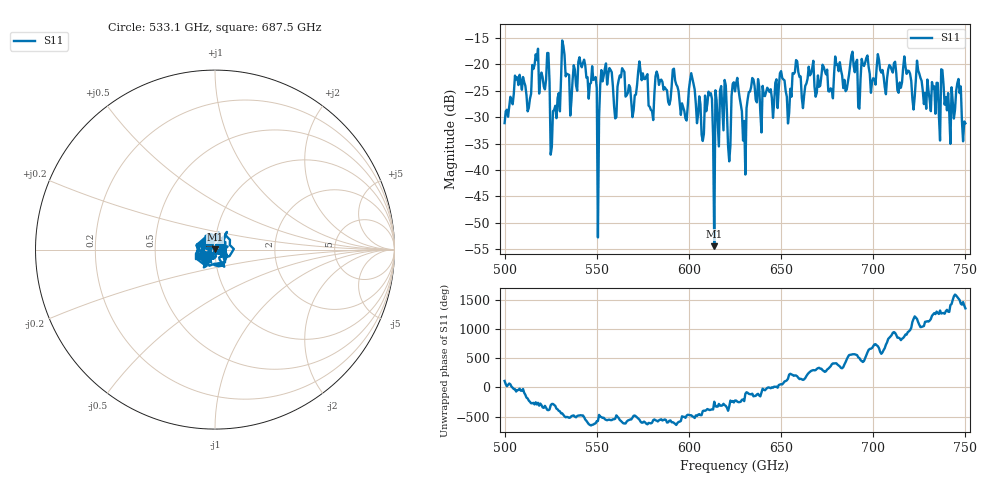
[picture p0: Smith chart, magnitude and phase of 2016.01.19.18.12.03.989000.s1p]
!Created with skrf (http://scikit-rf.org).
# GHz S RI R 50.0
!freq ReS11 ImS11
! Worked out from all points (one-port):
!   401 points, 500 GHz to 750 GHz, reference 50 ohm
!   lowest |S11| = -54.4 dB at 613.8 GHz (marker M1), VSWR 1.00, Z = 49.9 + j0.172 ohm
!   |S11| at or under -10 dB: start of sweep to end of sweep
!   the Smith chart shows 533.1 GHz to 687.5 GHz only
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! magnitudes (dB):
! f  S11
! 500 GHz  -31.1
! 506.9 GHz  -22.4
! 513.1 GHz  -28.2
! 516.9 GHz  -18.1
! 523.1 GHz  -17.8
! 526.2 GHz  -28.8
! 531.2 GHz  -15.5
! 548.8 GHz  -22.8
! 550.6 GHz  -52.8
! 553.8 GHz  -22.2
! 562.5 GHz  -22.1
! 593.8 GHz  -24.2
! 598.1 GHz  -30.2
! 601.9 GHz  -22.6
! 608.1 GHz  -33.1
! 611.2 GHz  -25.8
! 613.8 GHz  -54.4
! 618.8 GHz  -32.5
! 621.9 GHz  -38.4
! 625 GHz  -25.1
! 630 GHz  -30.7
! 634.4 GHz  -22.6
! 656.2 GHz  -21.6
! 687.5 GHz  -20.1
! 718.8 GHz  -21.2
! 742.5 GHz  -24.3
! 746.2 GHz  -22.7
! 750 GHz  -31.1
